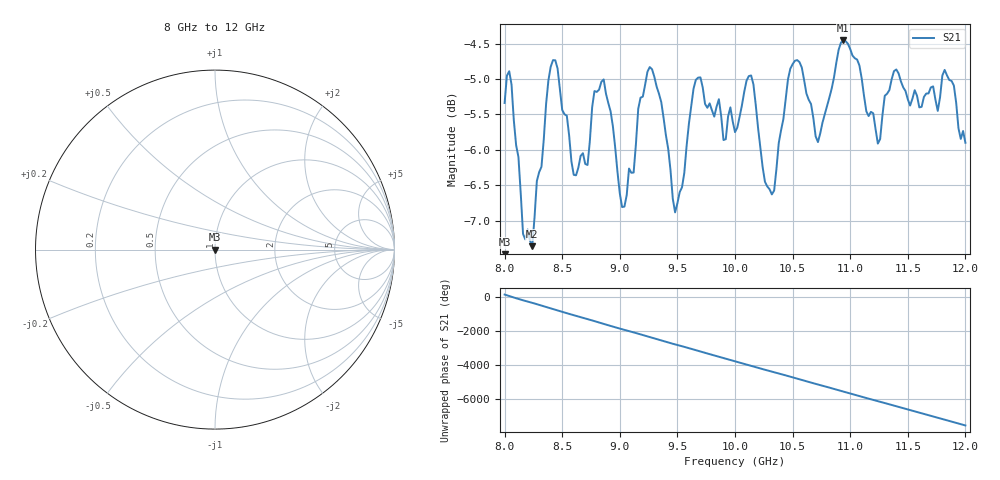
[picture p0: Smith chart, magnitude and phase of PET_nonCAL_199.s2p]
#  HZ  S  DB  R  50.00
! Rohde & Schwarz ZVA67 4Ports - Version 3.60 - 1305.7002k04 SN: 101051
! Date: 2012-04-04 15:48:35
! Measurements: S11 S21 S12 S22
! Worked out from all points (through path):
!   201 points, 8 GHz to 12 GHz, reference 50 ohm
!   highest |S21| = -4.46 dB at 10.94 GHz (marker M1); lowest = -7.4 dB at 8.24 GHz (marker M2)
!   lowest |S11| = - dB at 8 GHz (marker M3), VSWR 1.00, Z = 50 + j0 ohm
!   |S11| at or under -10 dB: start of sweep to end of sweep
!   S12 and S22 are empty: the file has one direction only
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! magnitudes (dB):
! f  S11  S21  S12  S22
! 8 GHz  -  -5.3  -  -
! 8.04 GHz  -  -4.9  -  -
! 8.16 GHz  -  -7.2  -  -
! 8.24 GHz  -  -7.4  -  -
! 8.42 GHz  -  -4.7  -  -
! 8.68 GHz  -  -6.0  -  -
! 8.86 GHz  -  -5.0  -  -
! 9.04 GHz  -  -6.8  -  -
! 9.24 GHz  -  -4.9  -  -
! 9.34 GHz  -  -5.2  -  -
! 9.48 GHz  -  -6.9  -  -
! 9.66 GHz  -  -5.0  -  -
! 10 GHz  -  -5.8  -  -
! 10.14 GHz  -  -5.0  -  -
! 10.32 GHz  -  -6.6  -  -
! 10.5 GHz  -  -4.8  -  -
! 10.68 GHz  -  -5.6  -  -
! 10.94 GHz  -  -4.5  -  -
! 11.24 GHz  -  -5.9  -  -
! 11.34 GHz  -  -5.2  -  -
! 11.82 GHz  -  -4.9  -  -
! 12 GHz  -  -5.9  -  -
